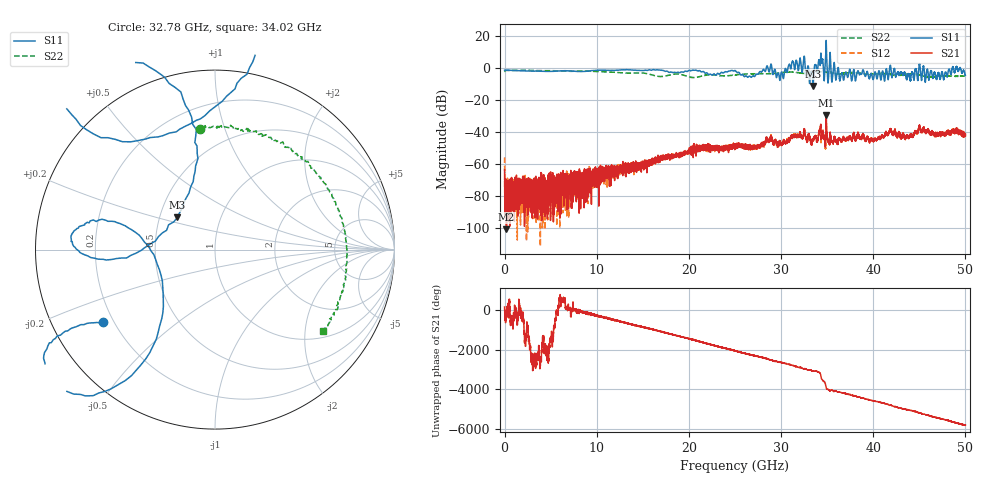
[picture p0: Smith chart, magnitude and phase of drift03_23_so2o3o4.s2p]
!Created with skrf (http://scikit-rf.org).
# Hz S RI R 50.0
!freq ReS11 ImS11 ReS21 ImS21 ReS12 ImS12 ReS22 ImS22
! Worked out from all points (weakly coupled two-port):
!   10001 points, 300 kHz to 50 GHz, reference 50 ohm
!   highest |S21| = -29.36 dB at 34.9 GHz (marker M1); lowest = -101.1 dB at 205.3 MHz (marker M2)
!   lowest |S11| = -11.2 dB at 33.47 GHz (marker M3), VSWR 1.76, Z = 30.9 + j12 ohm
!   |S11| at or under -10 dB: 33.44727 GHz to 33.48541 GHz (38.14 MHz wide, 0.114 % of centre)
!   |S22| runs from -5.9 to -1.3 dB; largest |S21 - S12| = 0.0097
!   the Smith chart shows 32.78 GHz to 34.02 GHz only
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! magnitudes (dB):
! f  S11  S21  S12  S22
! 300 kHz  -1.3  -63.6  -56.0  -2.0
! 205.3 MHz  -1.3  -101.1  -78.0  -1.4
! 4.51 GHz  -2.1  -76.7  -80.5  -1.6
! 8.335 GHz  -2.2  -72.4  -66.1  -1.9
! 16.67 GHz  -1.1  -59.3  -57.3  -5.2
! 25 GHz  -1.5  -48.7  -48.5  -4.3
! 26.92 GHz  -4.9  -49.2  -49.4  -3.6
! 28.72 GHz  -2.3  -45.3  -45.5  -3.6
! 30.06 GHz  -2.5  -47.4  -47.6  -2.8
! 31.87 GHz  -1.5  -42.8  -42.2  -2.9
! 33.34 GHz  -2.2  -47.6  -47.1  -2.9
! 33.47 GHz  -11.2  -44.8  -45.5  -2.8
! 34.3 GHz  7.4  -36.1  -35.6  -2.3
! 34.9 GHz  17.3  -29.4  -32.2  -2.4
! 36.58 GHz  -3.4  -45.8  -46.2  -3.6
! 40.14 GHz  -3.2  -44.4  -44.2  -3.8
! 41.67 GHz  -5.7  -40.7  -40.5  -3.8
! 43.66 GHz  -6.7  -42.0  -42.4  -4.0
! 45.22 GHz  -6.7  -40.6  -39.0  -4.6
! 47.07 GHz  -3.0  -41.3  -41.9  -5.1
! 49.21 GHz  -1.9  -40.3  -39.6  -5.2
! 50 GHz  -4.6  -41.3  -42.9  -5.0
